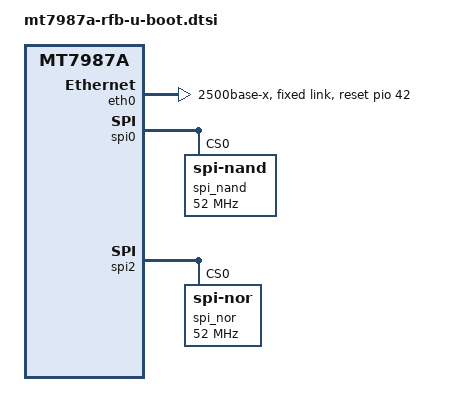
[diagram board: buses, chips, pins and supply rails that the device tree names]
// SPDX-License-Identifier: GPL-2.0
/*
 * Copyright (c) 2025 MediaTek Inc.
 * Author: Sam Shih <sam.shih@mediatek.com>
 */

#include "mt7987a-u-boot.dtsi"
#include "mt7987-netsys-u-boot.dtsi"

&eth0 {
	status = "okay";
	pinctrl-names = "default";
	pinctrl-0 = <&mdio0_pins>;
	phy-mode = "2500base-x";
	mediatek,switch = "auto";
	reset-gpios = <&pio 42 GPIO_ACTIVE_HIGH>;

	fixed-link {
		speed = <2500>;
		full-duplex;
		pause;
	};
};

&spi0 {
	pinctrl-names = "default";
	pinctrl-0 = <&spi0_flash_pins>;
	#address-cells = <1>;
	#size-cells = <0>;
	status = "okay";
	must_tx;
	enhance_timing;
	dma_ext;
	ipm_design;
	support_quad;
	tick_dly = <2>;
	sample_sel = <0>;

	/delete-node/ spi_nand@0;
	spi_nand@0 {
		compatible = "spi-nand";
		reg = <0>;
		spi-max-frequency = <52000000>;
		spi-rx-bus-width = <4>;
		spi-tx-bus-width = <4>;
	};
};

&spi2 {
	pinctrl-names = "default";
	pinctrl-0 = <&spi2_flash_pins>;
	#address-cells = <1>;
	#size-cells = <0>;
	status = "okay";
	must_tx;
	enhance_timing;
	dma_ext;
	ipm_design;
	support_quad;
	tick_dly = <2>;
	sample_sel = <0>;

	/delete-node/ spi_nor@0;
	spi_nor@0 {
		compatible = "jedec,spi-nor";
		reg = <0>;
		spi-max-frequency = <52000000>;
		spi-rx-bus-width = <4>;
		spi-tx-bus-width = <4>;
	};
};
